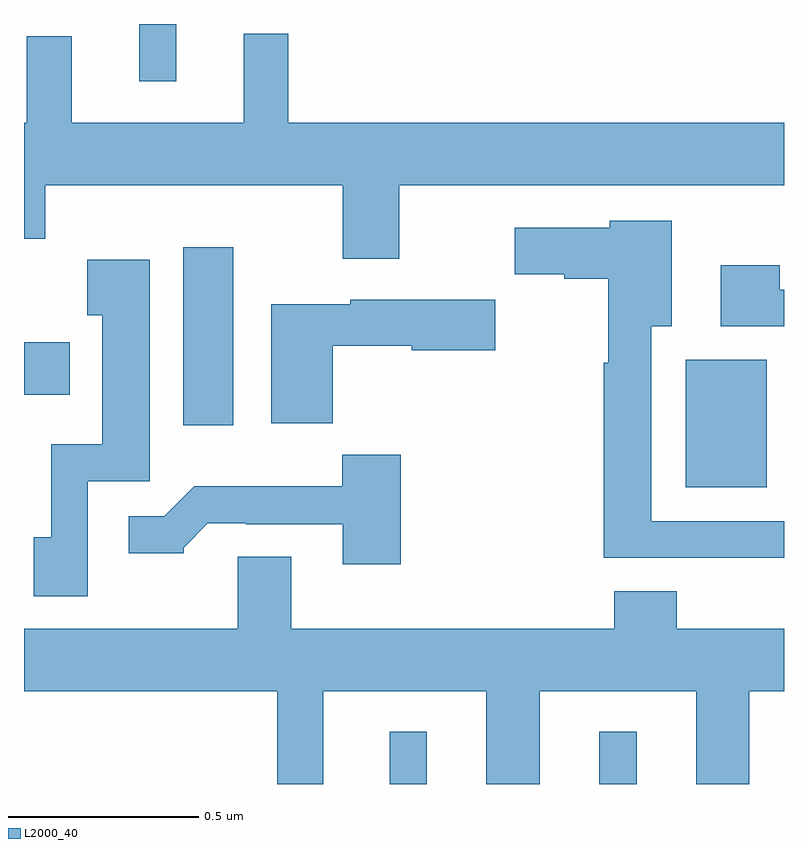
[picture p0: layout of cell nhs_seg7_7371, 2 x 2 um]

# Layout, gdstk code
import gdstk
lib = gdstk.Library(unit=1e-6, precision=1e-09)
def R(c, l, rs):  # rectangles x0, y0, x1, y1
    for r in rs: c.add(gdstk.rectangle(r[:2], r[2:], *l))
def P(c, l, *ps):  # polygons
    for p in ps: c.add(gdstk.Polygon(p, *l))
L2000_40 = (2000, 40)

nhs_seg7_7371 = lib.new_cell('nhs_seg7_7371')
R(nhs_seg7_7371, L2000_40, [(210.962,1039,211.06,1039.138), (211.514,1039,211.612,1039.138), (211.742,1039.781,211.954,1040.116), (210.419,1039.944,210.55,1040.413), (210,1040.024,210.121,1040.163), (210.303,1040.85,210.4,1041)])
P(nhs_seg7_7371, L2000_40, [(210.987,1040.576),(212,1040.576),(212,1040.74),(210.695,1040.74),(210.695,1040.974),(210.578,1040.974),(210.578,1040.74),(210.125,1040.74),(210.125,1040.968),(210.007,1040.968),(210.007,1040.74),(210,1040.74),(210,1040.435),(210.056,1040.435),(210.056,1040.576),(210.839,1040.576),(210.839,1040.382),(210.987,1040.382)],
  [(212,1039.692),(211.651,1039.692),(211.651,1040.204),(211.705,1040.204),(211.705,1040.482),(211.542,1040.482),(211.542,1040.464),(211.292,1040.464),(211.292,1040.341),(211.422,1040.341),(211.422,1040.33),(211.538,1040.33),(211.538,1040.108),(211.526,1040.108),(211.526,1039.595),(212,1039.595)],
  [(210.168,1039.797),(210.331,1039.797),(210.331,1040.38),(210.167,1040.38),(210.167,1040.234),(210.206,1040.234),(210.206,1039.894),(210.072,1039.894),(210.072,1039.65),(210.025,1039.65),(210.025,1039.494),(210.168,1039.494)],
  [(212,1040.301),(211.989,1040.301),(211.989,1040.365),(211.833,1040.365),(211.833,1040.205),(212,1040.205)],
  [(210.812,1040.153),(211.02,1040.153),(211.02,1040.141),(211.24,1040.141),(211.24,1040.274),(211.13,1040.274),(211.13,1040.275),(210.858,1040.275),(210.858,1040.263),(210.65,1040.263),(210.65,1039.949),(210.812,1039.949)],
  [(210.992,1039.867),(210.837,1039.867),(210.837,1039.783),(210.448,1039.783),(210.369,1039.704),(210.276,1039.704),(210.276,1039.607),(210.42,1039.607),(210.42,1039.622),(210.484,1039.686),(210.583,1039.686),(210.583,1039.683),(210.839,1039.683),(210.839,1039.578),(210.992,1039.578)],
  [(210.787,1039.244),(211.217,1039.244),(211.217,1039),(211.357,1039),(211.357,1039.244),(211.769,1039.244),(211.769,1039),(211.909,1039),(211.909,1039.244),(212,1039.244),(212,1039.408),(211.718,1039.408),(211.718,1039.507),(211.553,1039.507),(211.553,1039.408),(210.703,1039.408),(210.703,1039.598),(210.563,1039.598),(210.563,1039.408),(210,1039.408),(210,1039.244),(210.666,1039.244),(210.666,1039),(210.787,1039)])

lib.write_gds('nhs_seg7_7371.gds')
